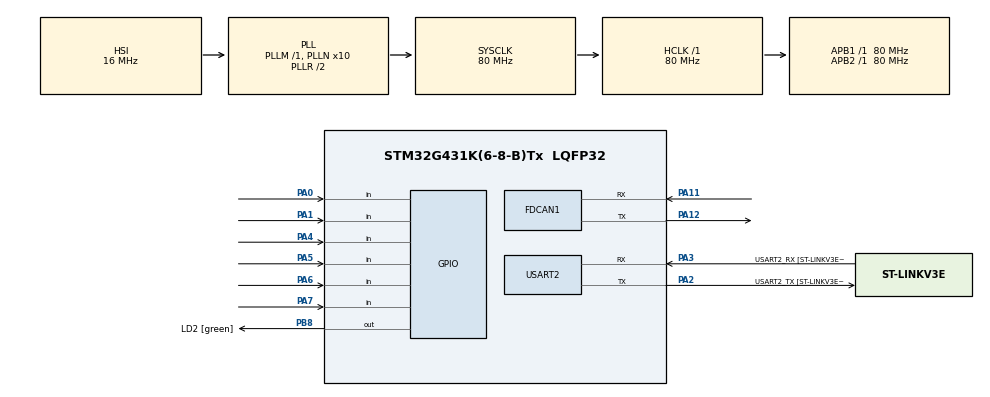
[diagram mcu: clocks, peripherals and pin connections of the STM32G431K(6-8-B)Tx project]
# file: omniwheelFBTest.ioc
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FDCAN1.CalculateBaudRateNominal=1000000
FDCAN1.CalculateTimeBitNominal=1000
FDCAN1.CalculateTimeQuantumNominal=62.5
FDCAN1.DataPrescaler=1
FDCAN1.DataSyncJumpWidth=4
FDCAN1.DataTimeSeg1=5
FDCAN1.DataTimeSeg2=4
FDCAN1.NominalPrescaler=5
FDCAN1.NominalSyncJumpWidth=16
FDCAN1.NominalTimeSeg1=13
FDCAN1.StdFiltersNbr=1
Mcu.Family=STM32G4
Mcu.Name=STM32G431K(6-8-B)Tx
Mcu.Package=LQFP32
NVIC.FDCAN1_IT0_IRQn=true\:0\:0\:false\:false\:true\:true\:true\:true
NVIC.FDCAN1_IT1_IRQn=true\:0\:0\:false\:false\:true\:true\:true\:true
NVIC.PriorityGroup=NVIC_PRIORITYGROUP_4
PA0.GPIO_PuPd=GPIO_PULLUP
PA0.Signal=GPIO_Input
PA1.GPIO_PuPd=GPIO_PULLUP
PA1.Signal=GPIO_Input
PA11.Mode=FDCAN_Activate
PA11.Signal=FDCAN1_RX
PA12.Mode=FDCAN_Activate
PA12.Signal=FDCAN1_TX
PA13.GPIO_Label=T_SWDIO
PA13.Mode=Serial_Wire
PA13.Signal=SYS_JTMS-SWDIO
PA14.GPIO_Label=T_SWCLK
PA14.Mode=Serial_Wire
PA14.Signal=SYS_JTCK-SWCLK
PA2.GPIO_Label=USART2_TX [ST-LINKV3E_VCP_RX]
PA2.Mode=Asynchronous
PA2.Signal=USART2_TX
PA3.GPIO_Label=USART2_RX [ST-LINKV3E_VCP_TX]
PA3.Mode=Asynchronous
PA3.Signal=USART2_RX
PA4.GPIO_PuPd=GPIO_PULLUP
PA4.Signal=GPIO_Input
PA5.GPIO_PuPd=GPIO_PULLUP
PA5.Signal=GPIO_Input
PA6.GPIO_PuPd=GPIO_PULLUP
PA6.Signal=GPIO_Input
PA7.GPIO_PuPd=GPIO_PULLUP
PA7.Signal=GPIO_Input
PB3.GPIO_Label=T_SWO
PB3.Signal=SYS_JTDO-SWO
PB8-BOOT0.GPIO_Label=LD2 [green]
PB8-BOOT0.Signal=GPIO_Output
ProjectManager.HeapSize=0x200
ProjectManager.StackSize=0x400
ProjectManager.TargetToolchain=STM32CubeIDE
RCC.ADC12Freq_Value=80000000
RCC.AHBFreq_Value=80000000
RCC.APB1Freq_Value=80000000
RCC.APB1TimFreq_Value=80000000
RCC.APB2Freq_Value=80000000
RCC.APB2TimFreq_Value=80000000
RCC.CortexFreq_Value=80000000
RCC.EXTERNAL_CLOCK_VALUE=12288000
RCC.HCLKFreq_Value=80000000
RCC.HSE_VALUE=8000000
RCC.HSI48_VALUE=48000000
RCC.HSI_VALUE=16000000
RCC.LSE_VALUE=32768
RCC.PLLN=10
RCC.SYSCLKFreq_VALUE=80000000
RCC.SYSCLKSource=RCC_SYSCLKSOURCE_PLLCLK
RCC.USBFreq_Value=80000000
RCC.VCOOutputFreq_Value=160000000
TIM3.PeriodNoDither=9999
TIM3.Prescaler=7999
USART2.VirtualMode-Asynchronous=VM_ASYNC
USART2.WordLength=WORDLENGTH_8B
VP_TIM3_VS_ClockSourceINT.Mode=Internal
board=NUCLEO-G431KB

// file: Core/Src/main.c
/* USER CODE BEGIN Header */
/**
  ******************************************************************************
  * @file           : main.c
  * @brief          : Main program body
  ******************************************************************************
  * @attention
  *
  * Copyright (c) 2023 STMicroelectronics.
  * All rights reserved.
  *
  * This software is licensed under terms that can be found in the LICENSE file
  * in the root directory of this software component.
  * If no LICENSE file comes with this software, it is provided AS-IS.
  *
  ******************************************************************************
  */
/* USER CODE END Header */
#include "main.h"

/* USER CODE BEGIN PD */
#define MOTOR0 0 //正面???��?��??��?��??��?��?出側のモーターから反時計回りに0,1,2
#define MOTOR1 1
#define MOTOR2 2
#define CANID_MOTORS 0x200
#define CANID_MOTOR0FB 0x201
#define CANID_MOTOR1FB 0x202
#define CANID_MOTOR2FB 0x203
/* USER CODE END PD */

FDCAN_HandleTypeDef hfdcan1;

TIM_HandleTypeDef htim3;

UART_HandleTypeDef huart2;

/* USER CODE BEGIN PV */
uint8_t speed = 64;
int16_t MotorVel[3]={};

/* USER CODE END PV */

void SystemClock_Config(void);
static void MX_GPIO_Init(void);
static void MX_USART2_UART_Init(void);
static void MX_FDCAN1_Init(void);
static void MX_TIM3_Init(void);
/* USER CODE BEGIN PFP */
void omnidrive(int8_t Vx, int8_t Vy, int8_t Om);
void CAN_Motordrive(int16_t vel[]);
void HAL_TIM_PeriodElapsedCallback(TIM_HandleTypeDef *htim);
void HAL_FDCAN_RxFifo0Callback(FDCAN_HandleTypeDef *hfdcan, uint32_t RxFifo0ITs);
void PIDController(int Target, int Value, int prvValue);

/* USER CODE END PFP */

int main(void)
{

  /* MCU Configuration--------------------------------------------------------*/

  /* Reset of all peripherals, Initializes the Flash interface and the Systick. */
  HAL_Init();

  /* Configure the system clock */
  SystemClock_Config();

  /* Initialize all configured peripherals */
  MX_GPIO_Init();
  MX_USART2_UART_Init();
  MX_FDCAN1_Init();
  MX_TIM3_Init();
  /* USER CODE BEGIN 2 */
  HAL_TIM_Base_Start_IT(&htim3);

  uint8_t i;
  uint8_t Vx, Vy, Om;
  uint8_t inputs[6];
  uint8_t inputPins[6] = {GPIO_PIN_0,GPIO_PIN_1,GPIO_PIN_4,GPIO_PIN_5,GPIO_PIN_6,GPIO_PIN_7};

  /* USER CODE END 2 */

  /* Infinite loop */
  /* USER CODE BEGIN WHILE */
  while (1)
  {
	  for(i=0; i<6; i++){
		  inputs[i]=HAL_GPIO_ReadPin(GPIOA, inputPins[i]);//pullup, SET == LOW, RESET == HIGH
	  }

	  if(inputs[0]==GPIO_PIN_RESET){
		  Vx=0; Vy=0; Om=1;
	  }
	  else if(inputs[1]==GPIO_PIN_RESET){
		  Vx=0; Vy=0; Om=-1;
	  }
	  else if(inputs[2]==GPIO_PIN_RESET){
		  Vx=1; Vy=0; Om=0;
	  }
	  else if(inputs[3]==GPIO_PIN_RESET){
		  Vx=-1; Vy=0; Om=0;
	  }
	  else if(inputs[4]==GPIO_PIN_RESET){
		  Vx=0; Vy=1; Om=0;
	  }
	  else if(inputs[5]==GPIO_PIN_RESET){
		  Vx=0; Vy=-1; Om=0;
	  }
	  else{
		  Vx=0; Vy=0; Om=0;
	  }
	  //Vx=0;Vy=0;Om=-1;

	  omnidrive(Vx,Vy,Om);

    /* USER CODE END WHILE */

  }
}

void SystemClock_Config(void)
{
  RCC_OscInitTypeDef RCC_OscInitStruct = {0};
  RCC_ClkInitTypeDef RCC_ClkInitStruct = {0};

  /** Configure the main internal regulator output voltage
  */
  HAL_PWREx_ControlVoltageScaling(PWR_REGULATOR_VOLTAGE_SCALE1);

  /** Initializes the RCC Oscillators according to the specified parameters
  * in the RCC_OscInitTypeDef structure.
  */
  RCC_OscInitStruct.OscillatorType = RCC_OSCILLATORTYPE_HSI;
  RCC_OscInitStruct.HSIState = RCC_HSI_ON;
  RCC_OscInitStruct.HSICalibrationValue = RCC_HSICALIBRATION_DEFAULT;
  RCC_OscInitStruct.PLL.PLLState = RCC_PLL_ON;
  RCC_OscInitStruct.PLL.PLLSource = RCC_PLLSOURCE_HSI;
  RCC_OscInitStruct.PLL.PLLM = RCC_PLLM_DIV1;
  RCC_OscInitStruct.PLL.PLLN = 10;
  RCC_OscInitStruct.PLL.PLLP = RCC_PLLP_DIV2;
  RCC_OscInitStruct.PLL.PLLQ = RCC_PLLQ_DIV2;
  RCC_OscInitStruct.PLL.PLLR = RCC_PLLR_DIV2;
  if (HAL_RCC_OscConfig(&RCC_OscInitStruct) != HAL_OK)
  {
    Error_Handler();
  }

  /** Initializes the CPU, AHB and APB buses clocks
  */
  RCC_ClkInitStruct.ClockType = RCC_CLOCKTYPE_HCLK|RCC_CLOCKTYPE_SYSCLK
                              |RCC_CLOCKTYPE_PCLK1|RCC_CLOCKTYPE_PCLK2;
  RCC_ClkInitStruct.SYSCLKSource = RCC_SYSCLKSOURCE_PLLCLK;
  RCC_ClkInitStruct.AHBCLKDivider = RCC_SYSCLK_DIV1;
  RCC_ClkInitStruct.APB1CLKDivider = RCC_HCLK_DIV1;
  RCC_ClkInitStruct.APB2CLKDivider = RCC_HCLK_DIV1;

  if (HAL_RCC_ClockConfig(&RCC_ClkInitStruct, FLASH_LATENCY_2) != HAL_OK)
  {
    Error_Handler();
  }
}

static void MX_FDCAN1_Init(void)
{

  hfdcan1.Instance = FDCAN1;
  hfdcan1.Init.ClockDivider = FDCAN_CLOCK_DIV1;
  hfdcan1.Init.FrameFormat = FDCAN_FRAME_CLASSIC;
  hfdcan1.Init.Mode = FDCAN_MODE_NORMAL;
  hfdcan1.Init.AutoRetransmission = DISABLE;
  hfdcan1.Init.TransmitPause = DISABLE;
  hfdcan1.Init.ProtocolException = DISABLE;
  hfdcan1.Init.NominalPrescaler = 5;
  hfdcan1.Init.NominalSyncJumpWidth = 16;
  hfdcan1.Init.NominalTimeSeg1 = 13;
  hfdcan1.Init.NominalTimeSeg2 = 2;
  hfdcan1.Init.DataPrescaler = 1;
  hfdcan1.Init.DataSyncJumpWidth = 4;
  hfdcan1.Init.DataTimeSeg1 = 5;
  hfdcan1.Init.DataTimeSeg2 = 4;
  hfdcan1.Init.StdFiltersNbr = 1;
  hfdcan1.Init.ExtFiltersNbr = 0;
  hfdcan1.Init.TxFifoQueueMode = FDCAN_TX_FIFO_OPERATION;
  if (HAL_FDCAN_Init(&hfdcan1) != HAL_OK)
  {
    Error_Handler();
  }
  /* USER CODE BEGIN FDCAN1_Init 2 */

  FDCAN_FilterTypeDef sFilterConfig;
    sFilterConfig.IdType = FDCAN_STANDARD_ID;
    sFilterConfig.FilterIndex = 0;
    sFilterConfig.FilterType = FDCAN_FILTER_MASK;
    sFilterConfig.FilterConfig = FDCAN_FILTER_TO_RXFIFO0;
    sFilterConfig.FilterID1 = CANID_MOTORS;
    sFilterConfig.FilterID2 = 0x7FC;

    if (HAL_FDCAN_ConfigFilter(&hfdcan1, &sFilterConfig) != HAL_OK) {
    	Error_Handler();
	}
	if (HAL_FDCAN_ConfigGlobalFilter(&hfdcan1, FDCAN_REJECT, FDCAN_REJECT, FDCAN_FILTER_REMOTE, FDCAN_FILTER_REMOTE) != HAL_OK) {
		Error_Handler();
	}

	if (HAL_FDCAN_Start(&hfdcan1) != HAL_OK) {
		Error_Handler();
	}
	if (HAL_FDCAN_ActivateNotification(&hfdcan1, FDCAN_IT_RX_FIFO0_NEW_MESSAGE, 0) != HAL_OK) {
	  Error_Handler();
	}

  /* USER CODE END FDCAN1_Init 2 */

}

static void MX_TIM3_Init(void)
{

  TIM_ClockConfigTypeDef sClockSourceConfig = {0};
  TIM_MasterConfigTypeDef sMasterConfig = {0};

  htim3.Instance = TIM3;
  htim3.Init.Prescaler = 7999;
  htim3.Init.CounterMode = TIM_COUNTERMODE_UP;
  htim3.Init.Period = 9999;
  htim3.Init.ClockDivision = TIM_CLOCKDIVISION_DIV1;
  htim3.Init.AutoReloadPreload = TIM_AUTORELOAD_PRELOAD_DISABLE;
  if (HAL_TIM_Base_Init(&htim3) != HAL_OK)
  {
    Error_Handler();
  }
  sClockSourceConfig.ClockSource = TIM_CLOCKSOURCE_INTERNAL;
  if (HAL_TIM_ConfigClockSource(&htim3, &sClockSourceConfig) != HAL_OK)
  {
    Error_Handler();
  }
  sMasterConfig.MasterOutputTrigger = TIM_TRGO_RESET;
  sMasterConfig.MasterSlaveMode = TIM_MASTERSLAVEMODE_DISABLE;
  if (HAL_TIMEx_MasterConfigSynchronization(&htim3, &sMasterConfig) != HAL_OK)
  {
    Error_Handler();
  }

}

static void MX_USART2_UART_Init(void)
{

  huart2.Instance = USART2;
  huart2.Init.BaudRate = 115200;
  huart2.Init.WordLength = UART_WORDLENGTH_8B;
  huart2.Init.StopBits = UART_STOPBITS_1;
  huart2.Init.Parity = UART_PARITY_NONE;
  huart2.Init.Mode = UART_MODE_TX_RX;
  huart2.Init.HwFlowCtl = UART_HWCONTROL_NONE;
  huart2.Init.OverSampling = UART_OVERSAMPLING_16;
  huart2.Init.OneBitSampling = UART_ONE_BIT_SAMPLE_DISABLE;
  huart2.Init.ClockPrescaler = UART_PRESCALER_DIV1;
  huart2.AdvancedInit.AdvFeatureInit = UART_ADVFEATURE_NO_INIT;
  if (HAL_UART_Init(&huart2) != HAL_OK)
  {
    Error_Handler();
  }
  if (HAL_UARTEx_SetTxFifoThreshold(&huart2, UART_TXFIFO_THRESHOLD_1_8) != HAL_OK)
  {
    Error_Handler();
  }
  if (HAL_UARTEx_SetRxFifoThreshold(&huart2, UART_RXFIFO_THRESHOLD_1_8) != HAL_OK)
  {
    Error_Handler();
  }
  if (HAL_UARTEx_DisableFifoMode(&huart2) != HAL_OK)
  {
    Error_Handler();
  }

}

static void MX_GPIO_Init(void)
{
  GPIO_InitTypeDef GPIO_InitStruct = {0};

  /* GPIO Ports Clock Enable */
  __HAL_RCC_GPIOA_CLK_ENABLE();
  __HAL_RCC_GPIOB_CLK_ENABLE();

  /*Configure GPIO pin Output Level */
  HAL_GPIO_WritePin(LD2_GPIO_Port, LD2_Pin, GPIO_PIN_RESET);

  /*Configure GPIO pins : PA0 PA1 PA4 PA5
                           PA6 PA7 */
  GPIO_InitStruct.Pin = GPIO_PIN_0|GPIO_PIN_1|GPIO_PIN_4|GPIO_PIN_5
                          |GPIO_PIN_6|GPIO_PIN_7;
  GPIO_InitStruct.Mode = GPIO_MODE_INPUT;
  GPIO_InitStruct.Pull = GPIO_PULLUP;
  HAL_GPIO_Init(GPIOA, &GPIO_InitStruct);

  /*Configure GPIO pin : LD2_Pin */
  GPIO_InitStruct.Pin = LD2_Pin;
  GPIO_InitStruct.Mode = GPIO_MODE_OUTPUT_PP;
  GPIO_InitStruct.Pull = GPIO_NOPULL;
  GPIO_InitStruct.Speed = GPIO_SPEED_FREQ_LOW;
  HAL_GPIO_Init(LD2_GPIO_Port, &GPIO_InitStruct);

}

/* USER CODE BEGIN 4 */
void omnidrive(int8_t Vx, int8_t Vy, int8_t Om)
{
	int16_t vel[3];
	if(Vx != 0){
		vel[0] = speed*32*Vx;
		vel[1] = -1*speed*32*Vx;
		vel[2] = -1*speed*32*Vx;
	}

	else if(Vy != 0){
		vel[0] = 0;
		vel[1] = speed*64*Vy*1.73;
		vel[2] = speed*(-64)*Vy*1.73;
	}

	else if(Om !=0){
		Om=-1*Om;
		vel[0] = speed*64*Om; vel[1] = speed*64*Om; vel[2] = speed*64*Om;
	}

	else{
		vel[0] = 0; vel[1] = 0; vel[2] = 0;
	}

	CAN_Motordrive(vel);
}

void CAN_Motordrive(int16_t vel[])
{
	FDCAN_TxHeaderTypeDef TxHeader;
	int i;
	uint8_t TxData[8];
	for(i=0; i<3; i++){
		if(vel[i]<-16384)vel[i]=-16384;
		else if(vel[i]>16384)vel[i]=16384;
		TxData[i*2]=vel[i]>>8;//上位ビ??��?��???��?��?
		TxData[i*2+1]=vel[i]&0x00FF;//下位ビ??��?��???��?��?
	}

	TxHeader.IdType = FDCAN_STANDARD_ID;
	TxHeader.TxFrameType = FDCAN_DATA_FRAME;
	TxHeader.DataLength = FDCAN_DLC_BYTES_8;
	TxHeader.ErrorStateIndicator = FDCAN_ESI_ACTIVE;
	TxHeader.BitRateSwitch = FDCAN_BRS_OFF;
	TxHeader.FDFormat = FDCAN_CLASSIC_CAN;
	TxHeader.TxEventFifoControl = FDCAN_NO_TX_EVENTS;
	TxHeader.MessageMarker = 0;
	TxHeader.Identifier = CANID_MOTORS;
	if (HAL_FDCAN_AddMessageToTxFifoQ(&hfdcan1, &TxHeader, TxData) != HAL_OK) {
		/* Transmission request Error */
		Error_Handler();
	}
	HAL_Delay(10);
}

void HAL_FDCAN_RxFifo0Callback(FDCAN_HandleTypeDef *hfdcan, uint32_t RxFifo0ITs) {
	FDCAN_RxHeaderTypeDef RxHeader;
	uint8_t RxData[8];
	if (hfdcan == &hfdcan1) {
		if (HAL_FDCAN_GetRxMessage(hfdcan, FDCAN_RX_FIFO0, &RxHeader, RxData) != HAL_OK) {
			Error_Handler();
		}

		MotorVel[RxHeader.Identifier&0x7FC - 1] = RxData[2]<<8 | RxData[3]; //index is motorID-201 (0x201 - 0x201 =0)

		/*

		switch(RxHeader.Identifier){
		case CANID_MOTOR0FB:
			break;
		}

		case CANID_MOTOR1FB:
			break;
		}

		case CANID_MOTOR2FB:
			break;
		}

*/

	}
}

void PIDController(int16_t Target, int16_t *OutPut, int16_t Value, int16_t prvValue, uint16_t Frq){
	float K[3] = {10, 0, 0.1};
	int16_t Err = Value - Target;
	int16_t prvErr = prvValue - Target;
	float integral = 0;
	integral += (Err + prvErr)/(frq*2);
	*OutPut = Target - (Err*K[0] + (Err-prvErr)*frq*K[1] + integral*K[2]);

}

void HAL_TIM_PeriodElapsedCallback(TIM_HandleTypeDef *htim){
	int16_t prvMotorVel[3]={};
	uint8_t i;
	if(htim==&htim3){
		for(i=0; i<3; i++){
			PIDController(,,MotorVel[i], prvMotorVel[i],1000)
			prvMotorVel[i]=MotorVel[i];
		}
	}

}

/* USER CODE END 4 */

void Error_Handler(void)
{
  __disable_irq();
  while (1)
  {
  }
}
